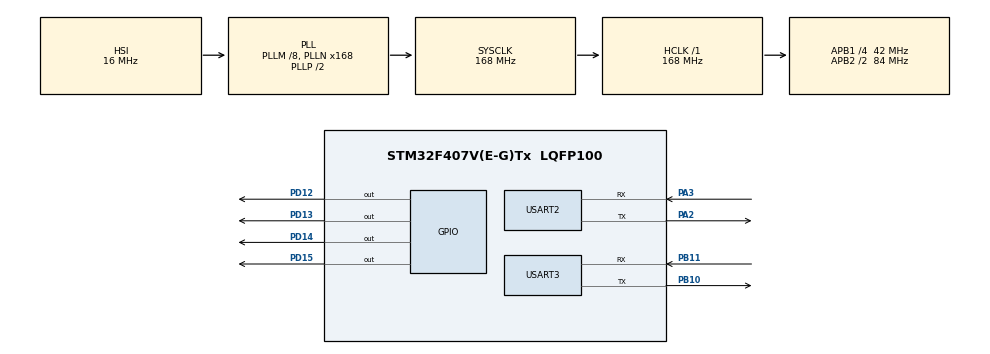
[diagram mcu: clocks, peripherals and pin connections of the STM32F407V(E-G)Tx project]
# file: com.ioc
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FREERTOS.Tasks01=defaultTask,0,128,StartDefaultTask,Default;myTask02,0,128,StartTask02,Default
Mcu.Family=STM32F4
Mcu.Name=STM32F407V(E-G)Tx
Mcu.Package=LQFP100
NVIC.PriorityGroup=NVIC_PRIORITYGROUP_4
NVIC.TIM1_UP_TIM10_IRQn=true\:0\:0\:false\:false\:true\:false
NVIC.TimeBase=TIM1_UP_TIM10_IRQn
NVIC.TimeBaseIP=TIM1
NVIC.USART2_IRQn=true\:0\:0\:false\:false\:true\:false
NVIC.USART3_IRQn=true\:0\:0\:false\:false\:true\:false
PA2.Mode=Asynchronous
PA2.Signal=USART2_TX
PA3.Mode=Asynchronous
PA3.Signal=USART2_RX
PB10.Mode=Asynchronous
PB10.Signal=USART3_TX
PB11.Mode=Asynchronous
PB11.Signal=USART3_RX
PC14-OSC32_IN.Mode=LSE-External-Oscillator
PC14-OSC32_IN.Signal=RCC_OSC32_IN
PC15-OSC32_OUT.Mode=LSE-External-Oscillator
PC15-OSC32_OUT.Signal=RCC_OSC32_OUT
PD12.Signal=GPIO_Output
PD13.Signal=GPIO_Output
PD14.Signal=GPIO_Output
PD15.Signal=GPIO_Output
PH0-OSC_IN.Mode=HSE-External-Oscillator
PH0-OSC_IN.Signal=RCC_OSC_IN
PH1-OSC_OUT.Mode=HSE-External-Oscillator
PH1-OSC_OUT.Signal=RCC_OSC_OUT
ProjectManager.HeapSize=0x200
ProjectManager.StackSize=0x400
ProjectManager.TargetToolchain=MDK-ARM V5
RCC.48MHZClocksFreq_Value=84000000
RCC.AHBFreq_Value=168000000
RCC.APB1CLKDivider=RCC_HCLK_DIV4
RCC.APB1Freq_Value=42000000
RCC.APB1TimFreq_Value=84000000
RCC.APB2CLKDivider=RCC_HCLK_DIV2
RCC.APB2Freq_Value=84000000
RCC.APB2TimFreq_Value=168000000
RCC.CortexFreq_Value=168000000
RCC.HCLKFreq_Value=168000000
RCC.HSE_VALUE=25000000
RCC.HSI_VALUE=16000000
RCC.PLLM=8
RCC.PLLN=168
RCC.SYSCLKFreq_VALUE=168000000
RCC.SYSCLKSource=RCC_SYSCLKSOURCE_PLLCLK
RCC.VCOOutputFreq_Value=336000000
VP_FREERTOS_VS_ENABLE.Mode=Enabled
VP_SYS_VS_tim1.Mode=TIM1
board=com

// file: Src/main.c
/**
  ******************************************************************************
  * File Name          : main.c
  * Description        : Main program body
  ******************************************************************************
  *
  * COPYRIGHT(c) 2017 STMicroelectronics
  *
  * Redistribution and use in source and binary forms, with or without modification,
  * are permitted provided that the following conditions are met:
  *   1. Redistributions of source code must retain the above copyright notice,
  *      this list of conditions and the following disclaimer.
  *   2. Redistributions in binary form must reproduce the above copyright notice,
  *      this list of conditions and the following disclaimer in the documentation
  *      and/or other materials provided with the distribution.
  *   3. Neither the name of STMicroelectronics nor the names of its contributors
  *      may be used to endorse or promote products derived from this software
  *      without specific prior written permission.
  *
  * THIS SOFTWARE IS PROVIDED BY THE COPYRIGHT HOLDERS AND CONTRIBUTORS "AS IS"
  * AND ANY EXPRESS OR IMPLIED WARRANTIES, INCLUDING, BUT NOT LIMITED TO, THE
  * IMPLIED WARRANTIES OF MERCHANTABILITY AND FITNESS FOR A PARTICULAR PURPOSE ARE
  * DISCLAIMED. IN NO EVENT SHALL THE COPYRIGHT HOLDER OR CONTRIBUTORS BE LIABLE
  * FOR ANY DIRECT, INDIRECT, INCIDENTAL, SPECIAL, EXEMPLARY, OR CONSEQUENTIAL
  * DAMAGES (INCLUDING, BUT NOT LIMITED TO, PROCUREMENT OF SUBSTITUTE GOODS OR
  * SERVICES; LOSS OF USE, DATA, OR PROFITS; OR BUSINESS INTERRUPTION) HOWEVER
  * CAUSED AND ON ANY THEORY OF LIABILITY, WHETHER IN CONTRACT, STRICT LIABILITY,
  * OR TORT (INCLUDING NEGLIGENCE OR OTHERWISE) ARISING IN ANY WAY OUT OF THE USE
  * OF THIS SOFTWARE, EVEN IF ADVISED OF THE POSSIBILITY OF SUCH DAMAGE.
  *
  ******************************************************************************
  */
#include "stm32f4xx_hal.h"
#include "cmsis_os.h"

/* USER CODE BEGIN Includes */
#include "string.h"
/* USER CODE END Includes */

UART_HandleTypeDef huart2;
UART_HandleTypeDef huart3;

osThreadId defaultTaskHandle;
osThreadId myTask02Handle;

/* USER CODE BEGIN PV */
/* Private variables ---------------------------------------------------------*/
char ar[5]="";
char br[5]="";
int flag1=0;
int flag2=0;
/* USER CODE END PV */

void SystemClock_Config(void);
void Error_Handler(void);
static void MX_GPIO_Init(void);
static void MX_USART2_UART_Init(void);
static void MX_USART3_UART_Init(void);
void StartDefaultTask(void const * argument);
void StartTask02(void const * argument);

/* USER CODE BEGIN PFP */
/* Private function prototypes -----------------------------------------------*/

/* USER CODE END PFP */

int main(void)
{

  /* MCU Configuration----------------------------------------------------------*/

  /* Reset of all peripherals, Initializes the Flash interface and the Systick. */
  HAL_Init();

  /* Configure the system clock */
  SystemClock_Config();

  /* Initialize all configured peripherals */
  MX_GPIO_Init();
  MX_USART2_UART_Init();
  MX_USART3_UART_Init();

  /* USER CODE BEGIN 2 */
	__HAL_UART_ENABLE_IT(&huart2, UART_IT_RXNE);
	__HAL_UART_ENABLE_IT(&huart3, UART_IT_RXNE);
  /* USER CODE END 2 */

  /* Create the thread(s) */
  /* definition and creation of defaultTask */
  osThreadDef(defaultTask, StartDefaultTask, osPriorityNormal, 0, 128);
  defaultTaskHandle = osThreadCreate(osThread(defaultTask), NULL);

  /* definition and creation of myTask02 */
  osThreadDef(myTask02, StartTask02, osPriorityNormal, 0, 128);
  myTask02Handle = osThreadCreate(osThread(myTask02), NULL);

  /* Start scheduler */
  osKernelStart();

  /* We should never get here as control is now taken by the scheduler */

  /* Infinite loop */
  while (1)
  {

  }

}

/** System Clock Configuration
*/
void SystemClock_Config(void)
{

  RCC_OscInitTypeDef RCC_OscInitStruct;
  RCC_ClkInitTypeDef RCC_ClkInitStruct;

  __HAL_RCC_PWR_CLK_ENABLE();

  __HAL_PWR_VOLTAGESCALING_CONFIG(PWR_REGULATOR_VOLTAGE_SCALE1);

  RCC_OscInitStruct.OscillatorType = RCC_OSCILLATORTYPE_HSI;
  RCC_OscInitStruct.HSIState = RCC_HSI_ON;
  RCC_OscInitStruct.HSICalibrationValue = 16;
  RCC_OscInitStruct.PLL.PLLState = RCC_PLL_ON;
  RCC_OscInitStruct.PLL.PLLSource = RCC_PLLSOURCE_HSI;
  RCC_OscInitStruct.PLL.PLLM = 8;
  RCC_OscInitStruct.PLL.PLLN = 168;
  RCC_OscInitStruct.PLL.PLLP = RCC_PLLP_DIV2;
  RCC_OscInitStruct.PLL.PLLQ = 4;
  if (HAL_RCC_OscConfig(&RCC_OscInitStruct) != HAL_OK)
  {
    Error_Handler();
  }

  RCC_ClkInitStruct.ClockType = RCC_CLOCKTYPE_HCLK|RCC_CLOCKTYPE_SYSCLK
                              |RCC_CLOCKTYPE_PCLK1|RCC_CLOCKTYPE_PCLK2;
  RCC_ClkInitStruct.SYSCLKSource = RCC_SYSCLKSOURCE_PLLCLK;
  RCC_ClkInitStruct.AHBCLKDivider = RCC_SYSCLK_DIV1;
  RCC_ClkInitStruct.APB1CLKDivider = RCC_HCLK_DIV4;
  RCC_ClkInitStruct.APB2CLKDivider = RCC_HCLK_DIV2;
  if (HAL_RCC_ClockConfig(&RCC_ClkInitStruct, FLASH_LATENCY_5) != HAL_OK)
  {
    Error_Handler();
  }

  HAL_SYSTICK_Config(HAL_RCC_GetHCLKFreq()/1000);

  HAL_SYSTICK_CLKSourceConfig(SYSTICK_CLKSOURCE_HCLK);

  /* SysTick_IRQn interrupt configuration */
  HAL_NVIC_SetPriority(SysTick_IRQn, 15, 0);
}

/* USART2 init function */
static void MX_USART2_UART_Init(void)
{

  huart2.Instance = USART2;
  huart2.Init.BaudRate = 115200;
  huart2.Init.WordLength = UART_WORDLENGTH_8B;
  huart2.Init.StopBits = UART_STOPBITS_1;
  huart2.Init.Parity = UART_PARITY_NONE;
  huart2.Init.Mode = UART_MODE_TX_RX;
  huart2.Init.HwFlowCtl = UART_HWCONTROL_NONE;
  huart2.Init.OverSampling = UART_OVERSAMPLING_16;
  if (HAL_UART_Init(&huart2) != HAL_OK)
  {
    Error_Handler();
  }

}

/* USART3 init function */
static void MX_USART3_UART_Init(void)
{

  huart3.Instance = USART3;
  huart3.Init.BaudRate = 115200;
  huart3.Init.WordLength = UART_WORDLENGTH_8B;
  huart3.Init.StopBits = UART_STOPBITS_1;
  huart3.Init.Parity = UART_PARITY_NONE;
  huart3.Init.Mode = UART_MODE_TX_RX;
  huart3.Init.HwFlowCtl = UART_HWCONTROL_NONE;
  huart3.Init.OverSampling = UART_OVERSAMPLING_16;
  if (HAL_UART_Init(&huart3) != HAL_OK)
  {
    Error_Handler();
  }

}

/** Configure pins as
        * Analog
        * Input
        * Output
        * EVENT_OUT
        * EXTI
*/
static void MX_GPIO_Init(void)
{

  GPIO_InitTypeDef GPIO_InitStruct;

  /* GPIO Ports Clock Enable */
  __HAL_RCC_GPIOC_CLK_ENABLE();
  __HAL_RCC_GPIOH_CLK_ENABLE();
  __HAL_RCC_GPIOA_CLK_ENABLE();
  __HAL_RCC_GPIOB_CLK_ENABLE();
  __HAL_RCC_GPIOD_CLK_ENABLE();

  /*Configure GPIO pin Output Level */
  HAL_GPIO_WritePin(GPIOD, GPIO_PIN_12|GPIO_PIN_13|GPIO_PIN_14|GPIO_PIN_15, GPIO_PIN_RESET);

  /*Configure GPIO pins : PD12 PD13 PD14 PD15 */
  GPIO_InitStruct.Pin = GPIO_PIN_12|GPIO_PIN_13|GPIO_PIN_14|GPIO_PIN_15;
  GPIO_InitStruct.Mode = GPIO_MODE_OUTPUT_PP;
  GPIO_InitStruct.Pull = GPIO_NOPULL;
  GPIO_InitStruct.Speed = GPIO_SPEED_FREQ_LOW;
  HAL_GPIO_Init(GPIOD, &GPIO_InitStruct);

}

/* StartDefaultTask function */
void StartDefaultTask(void const * argument)
{

  /* USER CODE BEGIN 5 */
  /* Infinite loop */
  for(;;)
  {
		if(flag1){
    HAL_UART_Transmit(&huart2, (uint8_t *)ar, strlen(ar), 100);
		HAL_GPIO_WritePin(GPIOD, GPIO_PIN_13, GPIO_PIN_SET);
		flag1=0;
//		for(int i=0;i<50;i++)
//			ar[i]='\0';
			HAL_Delay(200);
		}
  }
  /* USER CODE END 5 */
}

/* StartTask02 function */
void StartTask02(void const * argument)
{
  /* USER CODE BEGIN StartTask02 */
  /* Infinite loop */
  for(;;)
  {
		if(flag2){
    HAL_UART_Transmit(&huart3, (uint8_t *)br, strlen(br), 100);
		HAL_GPIO_WritePin(GPIOD, GPIO_PIN_14, GPIO_PIN_SET);
		flag2=0;
//		for(int j=0;j<50;j++)
//			br[j]='\0';
			HAL_Delay(200);
  }
}
  /* USER CODE END StartTask02 */
}

void HAL_TIM_PeriodElapsedCallback(TIM_HandleTypeDef *htim)
{
  if (htim->Instance == TIM1) {
    HAL_IncTick();
  }
}

void Error_Handler(void)
{
  while(1)
  {
  }
}

/************************ (C) COPYRIGHT STMicroelectronics *****END OF FILE****/
